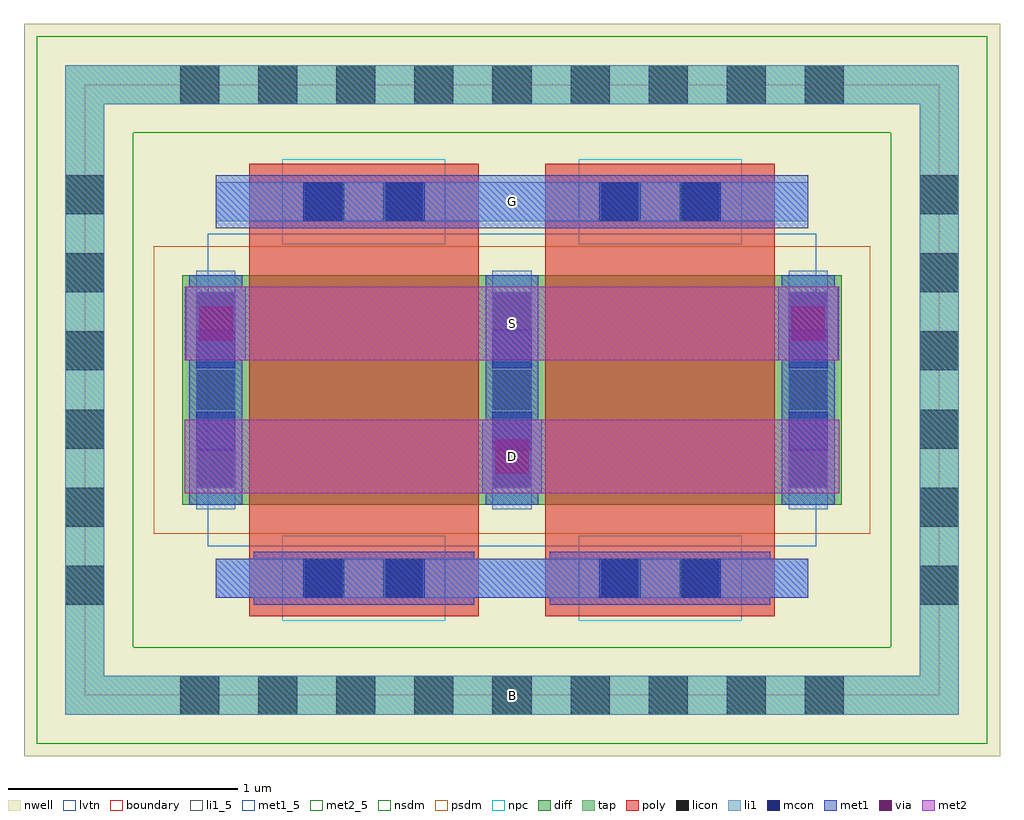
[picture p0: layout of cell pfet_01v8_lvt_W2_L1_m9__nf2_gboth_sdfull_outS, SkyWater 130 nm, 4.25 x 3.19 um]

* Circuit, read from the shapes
.subckt pfet_01v8_lvt_W2_L1_m9__nf2_gboth_sdfull_outS B D G S
XM1 D G S B sky130_fd_pr__pfet_01v8_lvt w=1 l=1 m=2
.ends

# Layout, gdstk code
import gdstk
lib = gdstk.Library(unit=1e-6, precision=1e-09)
def R(c, l, rs):  # rectangles x0, y0, x1, y1
    for r in rs: c.add(gdstk.rectangle(r[:2], r[2:], *l))
def A(c, l, x, y, w, h, nx, ny, dx, dy):  # array of equal rectangles
    R(c, l, [(x+i*dx, y+j*dy, x+i*dx+w, y+j*dy+h) for i in range(nx) for j in range(ny)])
nwell = (64, 20)
diff = (65, 20)
tap = (65, 44)
poly = (66, 20)
licon = (66, 44)
li1_5 = (67, 5)
li1 = (67, 20)
mcon = (67, 44)
met1_5 = (68, 5)
met1 = (68, 20)
via = (68, 44)
met2_5 = (69, 5)
met2 = (69, 20)
nsdm = (93, 44)
psdm = (94, 20)
npc = (95, 20)
lvtn = (125, 44)
boundary = (235, 4)

sky130_fd_pr__pfet_01v8_ = lib.new_cell('sky130_fd_pr__pfet_01v8_lvt_RRKU29')
R(sky130_fd_pr__pfet_01v8_, nwell, [(-2.125,-1.595,2.125,1.595)])
R(sky130_fd_pr__pfet_01v8_, diff, [(-1.435,-0.5,1.435,0.5)])
R(sky130_fd_pr__pfet_01v8_, tap, [(-1.945,-1.415,1.945,-1.245), (-1.945,-1.245,-1.775,1.245), (1.775,-1.245,1.945,1.245), (-1.945,1.245,1.945,1.415)])
R(sky130_fd_pr__pfet_01v8_, poly, [(-1.145,-0.985,-0.145,0.985), (0.145,-0.985,1.145,0.985)])
A(sky130_fd_pr__pfet_01v8_, licon, -1.445, -1.415, 0.17, 0.17, 9, 2, 0.34, 2.66)
A(sky130_fd_pr__pfet_01v8_, licon, -1.945, -0.935, 0.17, 0.17, 1, 6, 0, 0.34)
A(sky130_fd_pr__pfet_01v8_, licon, 1.775, -0.935, 0.17, 0.17, 1, 6, 0, 0.34)
A(sky130_fd_pr__pfet_01v8_, licon, -1.375, -0.425, 0.17, 0.17, 3, 3, 1.29, 0.34)
R(sky130_fd_pr__pfet_01v8_, licon, [(-0.9,-0.905,-0.73,-0.735), (-0.56,-0.905,-0.39,-0.735), (0.39,-0.905,0.56,-0.735), (0.73,-0.905,0.9,-0.735), (-0.9,0.735,-0.73,0.905), (-0.56,0.735,-0.39,0.905), (0.39,0.735,0.56,0.905), (0.73,0.735,0.9,0.905)])
A(sky130_fd_pr__pfet_01v8_, li1, -1.375, -0.52, 0.17, 1.04, 3, 1, 1.29, 0)
R(sky130_fd_pr__pfet_01v8_, li1, [(-1.945,-1.415,1.945,-1.245), (-1.945,-1.245,-1.775,1.245), (1.775,-1.245,1.945,1.245), (-1.29,-0.905,1.29,-0.735), (-1.29,0.735,1.29,0.905), (-1.945,1.245,1.945,1.415)])
A(sky130_fd_pr__pfet_01v8_, mcon, -1.375, -0.265, 0.17, 0.17, 3, 2, 1.29, 0.36)
R(sky130_fd_pr__pfet_01v8_, mcon, [(-0.91,-0.905,-0.74,-0.735), (-0.55,-0.905,-0.38,-0.735), (0.38,-0.905,0.55,-0.735), (0.74,-0.905,0.91,-0.735), (-0.91,0.735,-0.74,0.905), (-0.55,0.735,-0.38,0.905), (0.38,0.735,0.55,0.905), (0.74,0.735,0.91,0.905)])
A(sky130_fd_pr__pfet_01v8_, met1, -1.405, -0.5, 0.23, 1, 3, 1, 1.29, 0)
R(sky130_fd_pr__pfet_01v8_, met1, [(-1.125,-0.935,-0.165,-0.905), (0.165,-0.935,1.125,-0.905), (-1.29,-0.905,1.29,-0.735), (-1.125,-0.735,-0.165,-0.705), (0.165,-0.735,1.125,-0.705), (-1.125,0.705,-0.165,0.735), (0.165,0.705,1.125,0.735), (-1.29,0.735,1.29,0.905), (-1.125,0.905,-0.165,0.935), (0.165,0.905,1.125,0.935)])
R(sky130_fd_pr__pfet_01v8_, nsdm, [(-2.07,-1.54,2.07,-1.12), (-2.07,-1.12,-1.65,1.12), (1.65,-1.12,2.07,1.12), (-2.07,1.12,2.07,1.54)])
R(sky130_fd_pr__pfet_01v8_, psdm, [(-1.56,-0.625,1.56,0.625)])
R(sky130_fd_pr__pfet_01v8_, npc, [(-1,-1.005,-0.29,-0.635), (0.29,-1.005,1,-0.635), (-1,0.635,-0.29,1.005), (0.29,0.635,1,1.005)])
R(sky130_fd_pr__pfet_01v8_, lvtn, [(-1.325,-0.68,1.325,0.68)])
R(sky130_fd_pr__pfet_01v8_, boundary, [(-1.86,-1.33,1.86,1.33)])
sky130_fd_pr__pfet_01v8_.add(gdstk.Label('B', (0,-1.33), layer=67, texttype=5))
sky130_fd_pr__pfet_01v8_.add(gdstk.Label('D0', (-1.29,0), layer=67, texttype=5))
sky130_fd_pr__pfet_01v8_.add(gdstk.Label('G', (0.645,0.82), layer=67, texttype=5))
sky130_fd_pr__pfet_01v8_.add(gdstk.Label('G', (-0.645,0.82), layer=67, texttype=5))
sky130_fd_pr__pfet_01v8_.add(gdstk.Label('S1', (0,0), layer=67, texttype=5))

pfet_01v8_lvt_w2_l1_m9__ = lib.new_cell('pfet_01v8_lvt_W2_L1_m9__nf2_gboth_sdfull_outS')
R(pfet_01v8_lvt_w2_l1_m9__, li1_5, [(1.775,-0.085,1.945,0.085)])
R(pfet_01v8_lvt_w2_l1_m9__, li1, [(1.775,-0.085,1.945,0.085)])
R(pfet_01v8_lvt_w2_l1_m9__, met1_5, [(0.57,2.035,3.15,2.265)])
R(pfet_01v8_lvt_w2_l1_m9__, met1, [(1.73,0.88,1.99,1.2), (0.44,1.46,0.7,1.78), (3.02,1.46,3.28,1.78), (0.57,2.035,3.15,2.265)])
R(pfet_01v8_lvt_w2_l1_m9__, via, [(1.785,0.965,1.935,1.115), (0.495,1.545,0.645,1.695), (3.075,1.545,3.225,1.695)])
R(pfet_01v8_lvt_w2_l1_m9__, met2_5, [(0.435,0.88,3.285,1.2), (0.435,1.46,3.285,1.78)])
R(pfet_01v8_lvt_w2_l1_m9__, met2, [(0.435,0.88,3.285,1.2), (0.435,1.46,3.285,1.78)])
pfet_01v8_lvt_w2_l1_m9__.add(gdstk.Reference(sky130_fd_pr__pfet_01v8_, (1.86,1.33)))
pfet_01v8_lvt_w2_l1_m9__.add(gdstk.Label('S', (1.86,1.62), layer=69, texttype=5))
pfet_01v8_lvt_w2_l1_m9__.add(gdstk.Label('D', (1.86,1.04), layer=69, texttype=5))
pfet_01v8_lvt_w2_l1_m9__.add(gdstk.Label('G', (1.86,2.15), layer=68, texttype=5))
pfet_01v8_lvt_w2_l1_m9__.add(gdstk.Label('B', (1.86,0), layer=67, texttype=5))

lib.write_gds('pfet_01v8_lvt_W2_L1_m9__nf2_gboth_sdfull_outS.gds')
